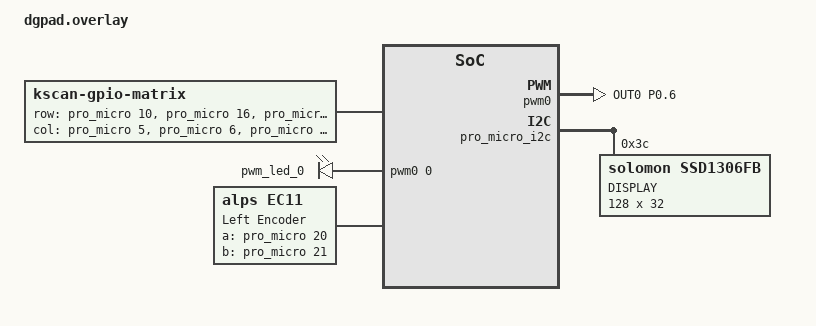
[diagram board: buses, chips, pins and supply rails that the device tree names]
#include <dt-bindings/zmk/matrix_transform.h>

&pwm0 {
    status = "okay";
    pinctrl-0 = <&pwm0_default>;
    pinctrl-1 = <&pwm0_sleep>;
    pinctrl-names = "default", "sleep";
};

&pinctrl {
    pwm0_default: pwm0_default {
        group1 {
            psels = <NRF_PSEL(PWM_OUT0, 0, 6)>;
            nordic,invert; 
	    };
    };


    pwm0_sleep: pwm0_sleep {
        group1 {
            psels = <NRF_PSEL(PWM_OUT0, 0, 6)>;
            low-power-enable;
	    };
    };
};

/ {
    chosen {
        zmk,kscan = &kscan0;
        zmk,backlight = &backlight;
        zephyr,display = &oled;
    };

    kscan0: kscan {
        compatible = "zmk,kscan-gpio-matrix";
        label = "KSCAN";
        diode-direction = "col2row";

         row-gpios
            = <&pro_micro 10 (GPIO_ACTIVE_HIGH | GPIO_PULL_DOWN)>
            , <&pro_micro 16 (GPIO_ACTIVE_HIGH | GPIO_PULL_DOWN)>
            , <&pro_micro 14 (GPIO_ACTIVE_HIGH | GPIO_PULL_DOWN)>
            , <&pro_micro 15 (GPIO_ACTIVE_HIGH | GPIO_PULL_DOWN)>
            , <&pro_micro 18 (GPIO_ACTIVE_HIGH | GPIO_PULL_DOWN)>
            ;

        col-gpios
            = <&pro_micro 5 GPIO_ACTIVE_HIGH>
            , <&pro_micro 6 GPIO_ACTIVE_HIGH>
            , <&pro_micro 7 GPIO_ACTIVE_HIGH>
            , <&pro_micro 8 GPIO_ACTIVE_HIGH>
            , <&pro_micro 9 GPIO_ACTIVE_HIGH>
            ;
    };

    backlight: pwmleds {
        compatible = "pwm-leds";
        pwm_led_0 {
            pwms = <&pwm0 0 10000 PWM_POLARITY_INVERTED>;
        };
    };

    left_encoder: left_encoder {
        compatible = "alps,ec11";
        label = "Left Encoder";
        a-gpios = <&pro_micro 20 (GPIO_ACTIVE_HIGH | GPIO_PULL_UP)>;
        b-gpios = <&pro_micro 21 (GPIO_ACTIVE_HIGH | GPIO_PULL_UP)>;
        steps = <40>;
        status = "okay";
    };
};

&pro_micro_i2c {
    status = "okay";

    oled: ssd1306@3c {
        compatible = "solomon,ssd1306fb";
        reg = <0x3c>;
        label = "DISPLAY";
        width = <128>;
        height = <32>;
        segment-offset = <0>;
        page-offset = <0>;
        display-offset = <0>;
        multiplex-ratio = <31>;
        segment-remap;
        com-invdir;
        com-sequential;
        prechargep = <0x22>;
    };
};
